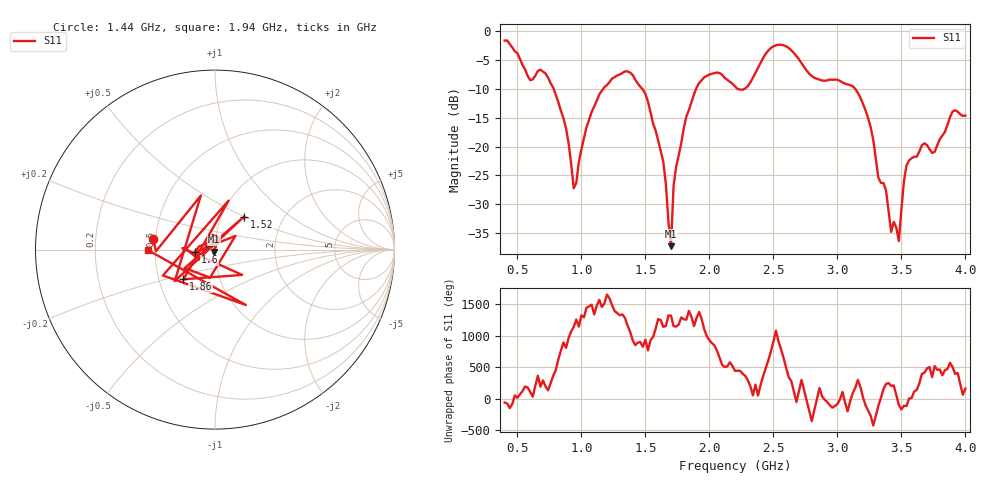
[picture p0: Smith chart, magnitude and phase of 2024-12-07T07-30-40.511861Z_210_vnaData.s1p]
!Created with skrf (http://scikit-rf.org).
# Hz S RI R 50.0
!freq ReS11 ImS11
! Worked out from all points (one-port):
!   181 points, 400 MHz to 4 GHz, reference 50 ohm
!   lowest |S11| = -37.2 dB at 1.7 GHz (marker M1), VSWR 1.03, Z = 49.3 - j1.18 ohm
!   |S11| at or under -10 dB: 782.6 MHz to 1.171 GHz (388.7 MHz wide, 39.8 % of centre); 1.474 GHz to 1.896 GHz (422.2 MHz wide, 25.1 % of centre); 3.138 GHz to end of sweep (the widest 3 of 4)
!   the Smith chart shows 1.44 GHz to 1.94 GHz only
!   S11 on the Smith chart (normalised r, x): 1.44 GHz: 0.48, +0.07; 1.52 GHz: 1.28, +0.50; 1.6 GHz: 0.80, -0.02; 1.86 GHz: 0.67, -0.23; 1.94 GHz: 0.45, -0.00
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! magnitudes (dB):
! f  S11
! 400 MHz  -1.7
! 600 MHz  -8.5
! 720 MHz  -7.4
! 860 MHz  -15.1
! 940 MHz  -27.2
! 1.08 GHz  -14.0
! 1.3 GHz  -7.5
! 1.44 GHz  -9.1
! 1.52 GHz  -12.2
! 1.6 GHz  -19.0
! 1.64 GHz  -22.7
! 1.7 GHz  -37.2
! 1.72 GHz  -26.8
! 1.76 GHz  -21.5
! 1.86 GHz  -12.3
! 1.94 GHz  -8.5
! 2.2 GHz  -9.6
! 2.5 GHz  -2.7
! 2.66 GHz  -3.8
! 3.1 GHz  -9.4
! 3.24 GHz  -15.1
! 3.32 GHz  -25.4
! 3.38 GHz  -27.6
! 3.42 GHz  -34.8
! 3.48 GHz  -36.3
! 3.52 GHz  -26.0
! 3.56 GHz  -22.4
! 4 GHz  -14.6
